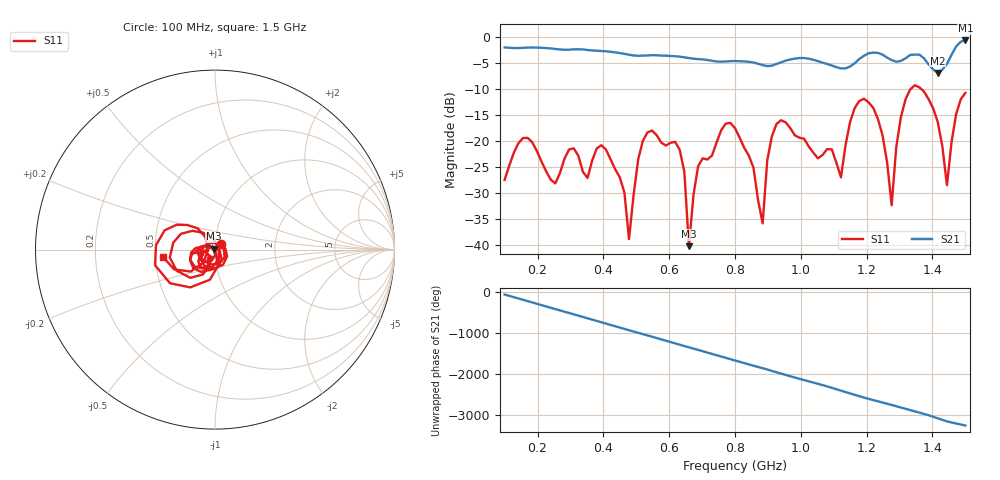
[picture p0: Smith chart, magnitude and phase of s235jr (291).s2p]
! NanoVNA-App
! Date: 2025-09-25 15:06:25
! Start: 100MHz Stop: 1,5GHz Points: 101
! S-Parameter data: F S11 S21 S12 S22
# Hz S RI R 50
!  Frequency  S11_Real  S11_Imag  S21_Real  S21_Imag  S12_Real  S12_Imag  S22_Real  S22_Imag
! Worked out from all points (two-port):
!   101 points, 100 MHz to 1.5 GHz, reference 50 ohm
!   highest |S21| = -0.63 dB at 1.5 GHz (marker M1); lowest = -6.9 dB at 1.416 GHz (marker M2)
!   |S21| within 3 dB of the highest: start of sweep to 607.3 MHz; 1.191 GHz to 1.255 GHz (64.06 MHz wide, 5.24 % of centre) (the widest 2 of 4)
!   lowest |S11| = -40.2 dB at 660 MHz (marker M3), VSWR 1.02, Z = 49.2 + j0.54 ohm
!   |S11| at or under -10 dB: start of sweep to 1.333 GHz; 1.366 GHz to end of sweep
!   S12 and S22 are empty: the file has one direction only
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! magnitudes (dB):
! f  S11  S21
! 100 MHz  -27.5  -2.0
! 156 MHz  -19.4  -2.0
! 338 MHz  -25.9  -2.4
! 408 MHz  -21.6  -2.7
! 478 MHz  -38.9  -3.4
! 520 MHz  -19.9  -3.5
! 576 MHz  -20.3  -3.5
! 632 MHz  -21.7  -3.7
! 660 MHz  -40.2  -4.0
! 688 MHz  -24.8  -4.2
! 800 MHz  -17.5  -4.6
! 884 MHz  -35.8  -5.4
! 926 MHz  -16.7  -5.1
! 1.038 GHz  -22.2  -4.3
! 1.122 GHz  -27.0  -6.0
! 1.192 GHz  -11.9  -3.6
! 1.248 GHz  -18.8  -3.3
! 1.276 GHz  -32.3  -4.4
! 1.332 GHz  -10.1  -3.4
! 1.416 GHz  -16.3  -6.9
! 1.444 GHz  -28.5  -5.1
! 1.5 GHz  -10.7  -0.6
